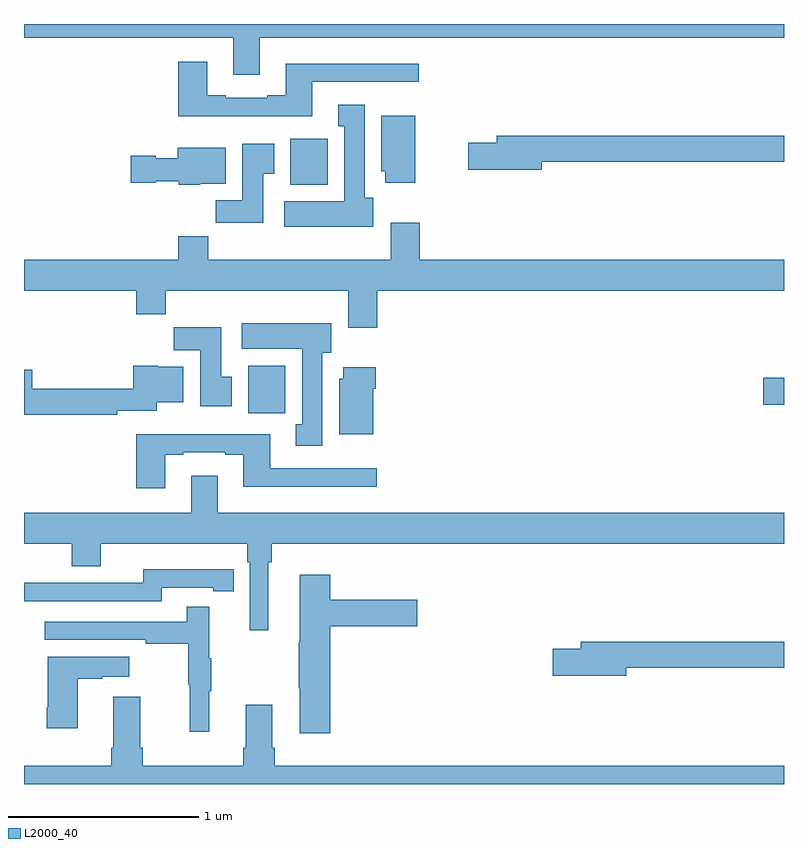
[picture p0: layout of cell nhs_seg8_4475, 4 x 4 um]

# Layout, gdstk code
import gdstk
lib = gdstk.Library(unit=1e-6, precision=1e-09)
def R(c, l, rs):  # rectangles x0, y0, x1, y1
    for r in rs: c.add(gdstk.rectangle(r[:2], r[2:], *l))
def P(c, l, *ps):  # polygons
    for p in ps: c.add(gdstk.Polygon(p, *l))
L2000_40 = (2000, 40)

nhs_seg8_4475 = lib.new_cell('nhs_seg8_4475')
R(nhs_seg8_4475, L2000_40, [(384.179,1119.852,384.375,1120.102), (386.892,1119.896,387,1120.038), (384.401,1121.054,384.598,1121.296)])
P(nhs_seg8_4475, L2000_40, [(384.241,1121.828),(387,1121.828),(387,1121.9),(383,1121.9),(383,1121.828),(384.101,1121.828),(384.101,1121.634),(384.241,1121.634)],
  [(384.517,1121.595),(385.078,1121.595),(385.078,1121.692),(384.377,1121.692),(384.377,1121.524),(384.281,1121.524),(384.281,1121.511),(384.061,1121.511),(384.061,1121.524),(383.965,1121.524),(383.965,1121.701),(383.813,1121.701),(383.813,1121.414),(384.517,1121.414)],
  [(384.838,1120.986),(384.793,1120.986),(384.793,1121.476),(384.653,1121.476),(384.653,1121.363),(384.686,1121.363),(384.686,1120.966),(384.369,1120.966),(384.369,1120.832),(384.838,1120.832)],
  [(385.06,1121.416),(384.881,1121.416),(384.881,1121.124),(384.902,1121.124),(384.902,1121.064),(385.06,1121.064)],
  [(385.726,1121.176),(387,1121.176),(387,1121.312),(385.487,1121.312),(385.487,1121.276),(385.338,1121.276),(385.338,1121.134),(385.726,1121.134)],
  [(384.259,1121.113),(384.316,1121.113),(384.316,1121.269),(384.149,1121.269),(384.149,1120.972),(384.01,1120.972),(384.01,1120.854),(384.259,1120.854)],
  [(383.928,1121.06),(384.061,1121.06),(384.061,1121.248),(383.81,1121.248),(383.81,1121.194),(383.694,1121.194),(383.694,1121.207),(383.562,1121.207),(383.562,1121.065),(383.694,1121.065),(383.694,1121.072),(383.814,1121.072),(383.814,1121.054),(383.928,1121.054)],
  [(384.86,1120.496),(387,1120.496),(387,1120.66),(385.082,1120.66),(385.082,1120.855),(384.929,1120.855),(384.929,1120.66),(383.969,1120.66),(383.969,1120.784),(383.813,1120.784),(383.813,1120.66),(383,1120.66),(383,1120.496),(383.591,1120.496),(383.591,1120.372),(383.747,1120.372),(383.747,1120.496),(384.707,1120.496),(384.707,1120.302),(384.86,1120.302)],
  [(384.571,1120.17),(384.616,1120.17),(384.616,1120.324),(384.147,1120.324),(384.147,1120.19),(384.464,1120.19),(384.464,1119.793),(384.431,1119.793),(384.431,1119.681),(384.571,1119.681)],
  [(384.094,1120.044),(384.037,1120.044),(384.037,1120.303),(383.788,1120.303),(383.788,1120.184),(383.927,1120.184),(383.927,1119.888),(384.094,1119.888)],
  [(383.492,1119.864),(383.698,1119.864),(383.698,1119.908),(383.839,1119.908),(383.839,1120.096),(383.706,1120.096),(383.706,1120.102),(383.576,1120.102),(383.576,1119.98),(383.044,1119.98),(383.044,1120.081),(383,1120.081),(383,1119.844),(383.492,1119.844)],
  [(384.838,1119.98),(384.851,1119.98),(384.851,1120.093),(384.68,1120.093),(384.68,1120.032),(384.659,1120.032),(384.659,1119.74),(384.838,1119.74)],
  [(383.743,1119.633),(383.839,1119.633),(383.839,1119.645),(384.059,1119.645),(384.059,1119.633),(384.155,1119.633),(384.155,1119.464),(384.856,1119.464),(384.856,1119.561),(384.295,1119.561),(384.295,1119.742),(383.591,1119.742),(383.591,1119.456),(383.743,1119.456)],
  [(384.286,1119.068),(384.305,1119.068),(384.305,1119.164),(387,1119.164),(387,1119.328),(384.019,1119.328),(384.019,1119.523),(383.879,1119.523),(383.879,1119.328),(383,1119.328),(383,1119.164),(383.252,1119.164),(383.252,1119.047),(383.404,1119.047),(383.404,1119.164),(384.176,1119.164),(384.176,1119.068),(384.189,1119.068),(384.189,1118.709),(384.286,1118.709)],
  [(383.724,1118.934),(383.996,1118.934),(383.996,1118.914),(384.104,1118.914),(384.104,1119.03),(383.996,1119.03),(383.996,1119.031),(383.628,1119.031),(383.628,1118.958),(383.168,1118.958),(383.168,1118.96),(383,1118.96),(383,1118.862),(383.724,1118.862)],
  [(384.611,1118.729),(385.069,1118.729),(385.069,1118.871),(384.611,1118.871),(384.611,1119.001),(384.452,1119.001),(384.452,1118.645),(384.445,1118.645),(384.445,1118.404),(384.452,1118.404),(384.452,1118.166),(384.611,1118.166)],
  [(383.975,1118.387),(383.986,1118.387),(383.986,1118.561),(383.975,1118.561),(383.975,1118.833),(383.857,1118.833),(383.857,1118.754),(383.109,1118.754),(383.109,1118.658),(383.641,1118.658),(383.641,1118.638),(383.865,1118.638),(383.865,1118.424),(383.872,1118.424),(383.872,1118.175),(383.975,1118.175)],
  [(386.17,1118.512),(387,1118.512),(387,1118.648),(385.931,1118.648),(385.931,1118.612),(385.782,1118.612),(385.782,1118.47),(386.17,1118.47)],
  [(383.284,1118.455),(383.411,1118.455),(383.411,1118.465),(383.554,1118.465),(383.554,1118.569),(383.126,1118.569),(383.126,1118.305),(383.119,1118.305),(383.119,1118.193),(383.284,1118.193)],
  [(387,1117.996),(384.32,1117.996),(384.32,1118.092),(384.307,1118.092),(384.307,1118.317),(384.167,1118.317),(384.167,1118.092),(384.155,1118.092),(384.155,1117.996),(383.624,1117.996),(383.624,1118.092),(383.611,1118.092),(383.611,1118.359),(383.471,1118.359),(383.471,1118.092),(383.459,1118.092),(383.459,1117.996),(383,1117.996),(383,1117.9),(387,1117.9)])

lib.write_gds('nhs_seg8_4475.gds')
